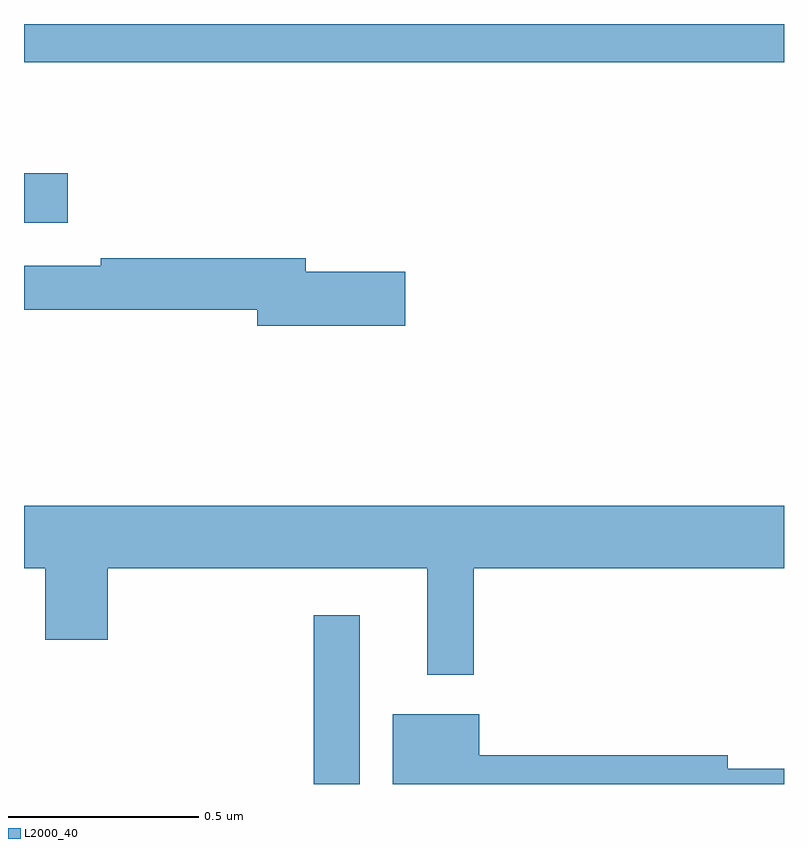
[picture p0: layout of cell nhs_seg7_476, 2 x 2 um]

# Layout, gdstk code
import gdstk
lib = gdstk.Library(unit=1e-6, precision=1e-09)
def R(c, l, rs):  # rectangles x0, y0, x1, y1
    for r in rs: c.add(gdstk.rectangle(r[:2], r[2:], *l))
def P(c, l, *ps):  # polygons
    for p in ps: c.add(gdstk.Polygon(p, *l))
L2000_40 = (2000, 40)

nhs_seg7_476 = lib.new_cell('nhs_seg7_476')
R(nhs_seg7_476, L2000_40, [(117.762,1048,117.883,1048.444), (117,1049.477,117.115,1049.607), (117,1049.9,119,1050)])
P(nhs_seg7_476, L2000_40, [(118.003,1049.348),(117.742,1049.348),(117.742,1049.384),(117.202,1049.384),(117.202,1049.364),(117,1049.364),(117,1049.248),(117.614,1049.248),(117.614,1049.206),(118.003,1049.206)],
  [(118.183,1048.568),(119,1048.568),(119,1048.732),(117,1048.732),(117,1048.568),(117.056,1048.568),(117.056,1048.38),(117.22,1048.38),(117.22,1048.568),(118.061,1048.568),(118.061,1048.287),(118.183,1048.287)],
  [(119,1048.04),(118.852,1048.04),(118.852,1048.076),(118.198,1048.076),(118.198,1048.183),(117.971,1048.183),(117.971,1048),(119,1048)])

lib.write_gds('nhs_seg7_476.gds')
